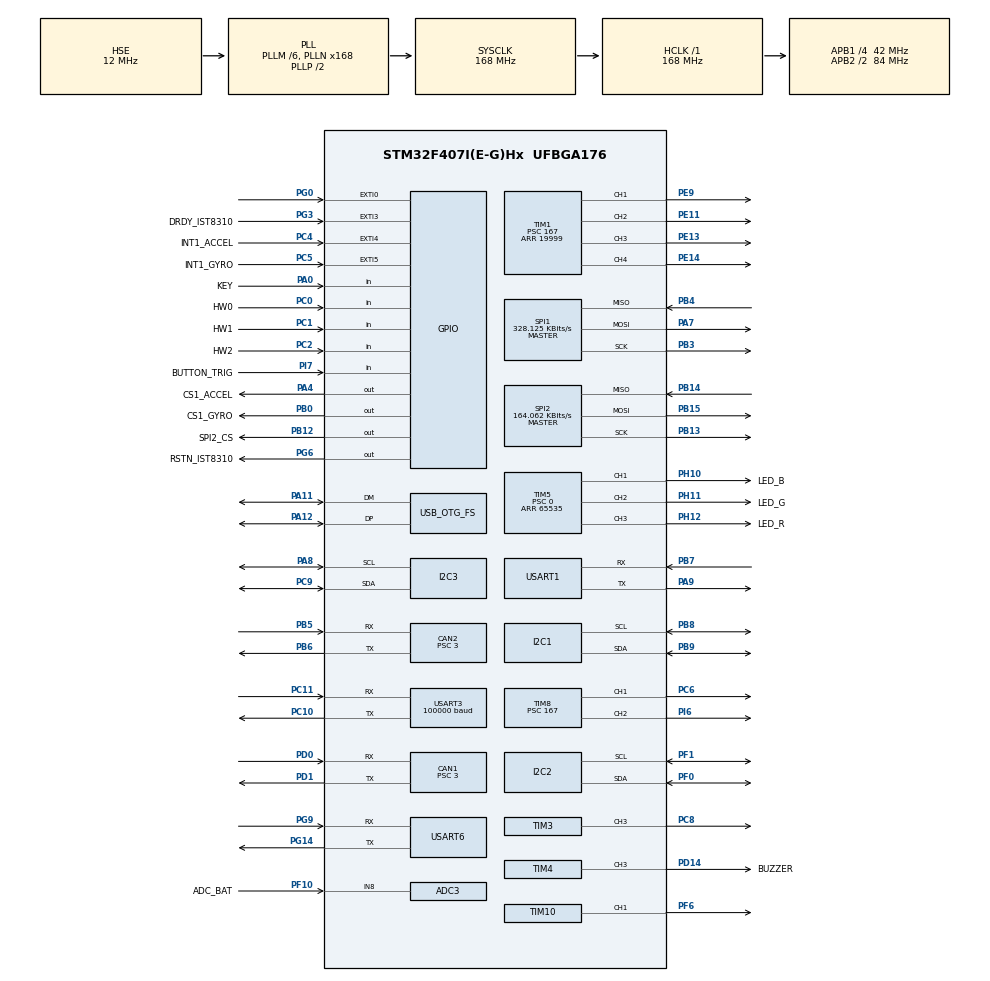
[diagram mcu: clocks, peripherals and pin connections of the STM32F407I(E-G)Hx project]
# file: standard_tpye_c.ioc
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ADC1.Channel-0\#ChannelRegularConversion=ADC_CHANNEL_TEMPSENSOR
ADC1.ClockPrescaler=ADC_CLOCK_SYNC_PCLK_DIV6
ADC1.NbrOfConversionFlag=1
ADC1.Rank-0\#ChannelRegularConversion=1
ADC1.SamplingTime-0\#ChannelRegularConversion=ADC_SAMPLETIME_3CYCLES
ADC1.master=1
ADC3.Channel-0\#ChannelRegularConversion=ADC_CHANNEL_8
ADC3.ClockPrescaler=ADC_CLOCK_SYNC_PCLK_DIV6
ADC3.NbrOfConversionFlag=1
ADC3.Rank-0\#ChannelRegularConversion=1
ADC3.SamplingTime-0\#ChannelRegularConversion=ADC_SAMPLETIME_3CYCLES
CAN1.BS1=CAN_BS1_10TQ
CAN1.BS2=CAN_BS2_3TQ
CAN1.CalculateTimeQuantum=71.42857142857143
CAN1.Prescaler=3
CAN2.BS1=CAN_BS1_10TQ
CAN2.BS2=CAN_BS2_3TQ
CAN2.CalculateTimeQuantum=71.42857142857143
CAN2.Prescaler=3
Dma.I2C2_TX.2.Direction=DMA_MEMORY_TO_PERIPH
Dma.I2C2_TX.2.FIFOMode=DMA_FIFOMODE_DISABLE
Dma.I2C2_TX.2.Instance=DMA1_Stream7
Dma.I2C2_TX.2.MemDataAlignment=DMA_MDATAALIGN_BYTE
Dma.I2C2_TX.2.MemInc=DMA_MINC_ENABLE
Dma.I2C2_TX.2.Mode=DMA_NORMAL
Dma.I2C2_TX.2.PeriphDataAlignment=DMA_PDATAALIGN_BYTE
Dma.I2C2_TX.2.PeriphInc=DMA_PINC_DISABLE
Dma.I2C2_TX.2.Priority=DMA_PRIORITY_HIGH
Dma.Request0=SPI1_RX
Dma.Request1=SPI1_TX
Dma.Request2=I2C2_TX
Dma.Request3=USART3_RX
Dma.Request4=USART6_RX
Dma.Request5=USART6_TX
Dma.Request6=USART1_TX
Dma.Request7=USART1_RX
Dma.SPI1_RX.0.Direction=DMA_PERIPH_TO_MEMORY
Dma.SPI1_RX.0.FIFOMode=DMA_FIFOMODE_DISABLE
Dma.SPI1_RX.0.Instance=DMA2_Stream2
Dma.SPI1_RX.0.MemDataAlignment=DMA_MDATAALIGN_BYTE
Dma.SPI1_RX.0.MemInc=DMA_MINC_ENABLE
Dma.SPI1_RX.0.Mode=DMA_NORMAL
Dma.SPI1_RX.0.PeriphDataAlignment=DMA_PDATAALIGN_BYTE
Dma.SPI1_RX.0.PeriphInc=DMA_PINC_DISABLE
Dma.SPI1_RX.0.Priority=DMA_PRIORITY_VERY_HIGH
Dma.SPI1_TX.1.Direction=DMA_MEMORY_TO_PERIPH
Dma.SPI1_TX.1.FIFOMode=DMA_FIFOMODE_DISABLE
Dma.SPI1_TX.1.Instance=DMA2_Stream3
Dma.SPI1_TX.1.MemDataAlignment=DMA_MDATAALIGN_BYTE
Dma.SPI1_TX.1.MemInc=DMA_MINC_ENABLE
Dma.SPI1_TX.1.Mode=DMA_NORMAL
Dma.SPI1_TX.1.PeriphDataAlignment=DMA_PDATAALIGN_BYTE
Dma.SPI1_TX.1.PeriphInc=DMA_PINC_DISABLE
Dma.SPI1_TX.1.Priority=DMA_PRIORITY_HIGH
Dma.USART1_RX.7.Direction=DMA_PERIPH_TO_MEMORY
Dma.USART1_RX.7.FIFOMode=DMA_FIFOMODE_DISABLE
Dma.USART1_RX.7.Instance=DMA2_Stream5
Dma.USART1_RX.7.MemDataAlignment=DMA_MDATAALIGN_BYTE
Dma.USART1_RX.7.MemInc=DMA_MINC_ENABLE
Dma.USART1_RX.7.Mode=DMA_NORMAL
Dma.USART1_RX.7.PeriphDataAlignment=DMA_PDATAALIGN_BYTE
Dma.USART1_RX.7.PeriphInc=DMA_PINC_DISABLE
Dma.USART1_RX.7.Priority=DMA_PRIORITY_HIGH
Dma.USART1_TX.6.Direction=DMA_MEMORY_TO_PERIPH
Dma.USART1_TX.6.FIFOMode=DMA_FIFOMODE_DISABLE
Dma.USART1_TX.6.Instance=DMA2_Stream7
Dma.USART1_TX.6.MemDataAlignment=DMA_MDATAALIGN_BYTE
Dma.USART1_TX.6.MemInc=DMA_MINC_ENABLE
Dma.USART1_TX.6.Mode=DMA_NORMAL
Dma.USART1_TX.6.PeriphDataAlignment=DMA_PDATAALIGN_BYTE
Dma.USART1_TX.6.PeriphInc=DMA_PINC_DISABLE
Dma.USART1_TX.6.Priority=DMA_PRIORITY_MEDIUM
Dma.USART3_RX.3.Direction=DMA_PERIPH_TO_MEMORY
Dma.USART3_RX.3.FIFOMode=DMA_FIFOMODE_DISABLE
Dma.USART3_RX.3.Instance=DMA1_Stream1
Dma.USART3_RX.3.MemDataAlignment=DMA_MDATAALIGN_BYTE
Dma.USART3_RX.3.MemInc=DMA_MINC_ENABLE
Dma.USART3_RX.3.Mode=DMA_NORMAL
Dma.USART3_RX.3.PeriphDataAlignment=DMA_PDATAALIGN_BYTE
Dma.USART3_RX.3.PeriphInc=DMA_PINC_DISABLE
Dma.USART3_RX.3.Priority=DMA_PRIORITY_HIGH
Dma.USART6_RX.4.Direction=DMA_PERIPH_TO_MEMORY
Dma.USART6_RX.4.FIFOMode=DMA_FIFOMODE_DISABLE
Dma.USART6_RX.4.Instance=DMA2_Stream1
Dma.USART6_RX.4.MemDataAlignment=DMA_MDATAALIGN_BYTE
Dma.USART6_RX.4.MemInc=DMA_MINC_ENABLE
Dma.USART6_RX.4.Mode=DMA_NORMAL
Dma.USART6_RX.4.PeriphDataAlignment=DMA_PDATAALIGN_BYTE
Dma.USART6_RX.4.PeriphInc=DMA_PINC_DISABLE
Dma.USART6_RX.4.Priority=DMA_PRIORITY_HIGH
Dma.USART6_TX.5.Direction=DMA_MEMORY_TO_PERIPH
Dma.USART6_TX.5.FIFOMode=DMA_FIFOMODE_DISABLE
Dma.USART6_TX.5.Instance=DMA2_Stream6
Dma.USART6_TX.5.MemDataAlignment=DMA_MDATAALIGN_BYTE
Dma.USART6_TX.5.MemInc=DMA_MINC_ENABLE
Dma.USART6_TX.5.Mode=DMA_NORMAL
Dma.USART6_TX.5.PeriphDataAlignment=DMA_PDATAALIGN_BYTE
Dma.USART6_TX.5.PeriphInc=DMA_PINC_DISABLE
Dma.USART6_TX.5.Priority=DMA_PRIORITY_MEDIUM
FREERTOS.INCLUDE_eTaskGetState=1
FREERTOS.INCLUDE_pcTaskGetTaskName=1
FREERTOS.INCLUDE_uxTaskGetStackHighWaterMark=1
FREERTOS.INCLUDE_vTaskCleanUpResources=1
FREERTOS.INCLUDE_vTaskDelayUntil=1
FREERTOS.INCLUDE_xEventGroupSetBitFromISR=1
FREERTOS.INCLUDE_xQueueGetMutexHolder=1
FREERTOS.INCLUDE_xSemaphoreGetMutexHolder=1
FREERTOS.INCLUDE_xTaskAbortDelay=1
FREERTOS.INCLUDE_xTaskGetCurrentTaskHandle=1
FREERTOS.INCLUDE_xTaskGetHandle=1
FREERTOS.INCLUDE_xTimerPendFunctionCall=1
FREERTOS.Tasks01=test,24,128,test_task,As weak,NULL,Dynamic,NULL,NULL
FREERTOS.configTOTAL_HEAP_SIZE=24576
I2C1.I2C_Mode=I2C_Fast
I2C2.I2C_Mode=I2C_Fast
I2C3.I2C_Mode=I2C_Fast
Mcu.Family=STM32F4
Mcu.Name=STM32F407I(E-G)Hx
Mcu.Package=UFBGA176
NVIC.CAN1_RX0_IRQn=true\:6\:0\:true\:false\:true\:true\:true\:true
NVIC.CAN2_RX1_IRQn=true\:6\:0\:true\:false\:true\:true\:true\:true
NVIC.DMA1_Stream1_IRQn=true\:5\:0\:true\:false\:false\:true\:false\:false
NVIC.DMA1_Stream7_IRQn=true\:5\:0\:true\:false\:false\:true\:false\:true
NVIC.DMA2_Stream1_IRQn=true\:5\:0\:true\:false\:true\:true\:false\:true
NVIC.DMA2_Stream2_IRQn=true\:5\:0\:true\:false\:false\:true\:false\:true
NVIC.DMA2_Stream3_IRQn=true\:5\:0\:true\:false\:false\:true\:false\:true
NVIC.DMA2_Stream5_IRQn=true\:5\:0\:false\:false\:true\:true\:false\:true
NVIC.DMA2_Stream6_IRQn=true\:5\:0\:true\:false\:true\:true\:false\:true
NVIC.DMA2_Stream7_IRQn=true\:5\:0\:true\:false\:true\:true\:false\:true
NVIC.EXTI0_IRQn=true\:6\:0\:true\:false\:true\:true\:true\:true
NVIC.EXTI3_IRQn=true\:5\:0\:true\:false\:true\:true\:true\:true
NVIC.EXTI4_IRQn=true\:5\:0\:true\:false\:true\:true\:true\:true
NVIC.EXTI9_5_IRQn=true\:5\:0\:true\:false\:true\:true\:true\:true
NVIC.OTG_FS_IRQn=true\:5\:0\:false\:false\:true\:true\:false\:true
NVIC.PriorityGroup=NVIC_PRIORITYGROUP_4
NVIC.USART1_IRQn=true\:5\:0\:false\:false\:true\:true\:true\:true
NVIC.USART3_IRQn=true\:4\:0\:true\:false\:false\:false\:true\:true
NVIC.USART6_IRQn=true\:5\:0\:true\:false\:false\:true\:true\:true
PA0-WKUP.GPIO_Label=KEY
PA0-WKUP.GPIO_PuPd=GPIO_PULLUP
PA0-WKUP.Signal=GPIO_Input
PA11.Mode=Device_Only
PA11.Signal=USB_OTG_FS_DM
PA12.Mode=Device_Only
PA12.Signal=USB_OTG_FS_DP
PA13.Mode=Serial_Wire
PA13.Signal=SYS_JTMS-SWDIO
PA14.Mode=Serial_Wire
PA14.Signal=SYS_JTCK-SWCLK
PA4.GPIO_Label=CS1_ACCEL
PA4.GPIO_PuPd=GPIO_PULLUP
PA4.GPIO_Speed=GPIO_SPEED_FREQ_HIGH
PA4.PinState=GPIO_PIN_SET
PA4.Signal=GPIO_Output
PA7.GPIO_PuPd=GPIO_PULLUP
PA7.Mode=Full_Duplex_Master
PA7.Signal=SPI1_MOSI
PA8.Mode=I2C
PA8.Signal=I2C3_SCL
PA9.Mode=Asynchronous
PA9.Signal=USART1_TX
PB0.GPIO_Label=CS1_GYRO
PB0.GPIO_PuPd=GPIO_PULLUP
PB0.GPIO_Speed=GPIO_SPEED_FREQ_HIGH
PB0.PinState=GPIO_PIN_SET
PB0.Signal=GPIO_Output
PB12.GPIO_Label=SPI2_CS
PB12.GPIO_PuPd=GPIO_PULLUP
PB12.GPIO_Speed=GPIO_SPEED_FREQ_MEDIUM
PB12.PinState=GPIO_PIN_SET
PB12.Signal=GPIO_Output
PB13.GPIO_PuPd=GPIO_PULLUP
PB13.Mode=Full_Duplex_Master
PB13.Signal=SPI2_SCK
PB14.GPIO_PuPd=GPIO_PULLUP
PB14.Mode=Full_Duplex_Master
PB14.Signal=SPI2_MISO
PB15.GPIO_PuPd=GPIO_PULLUP
PB15.Mode=Full_Duplex_Master
PB15.Signal=SPI2_MOSI
PB3.GPIO_PuPd=GPIO_PULLUP
PB3.Mode=Full_Duplex_Master
PB3.Signal=SPI1_SCK
PB4.GPIO_PuPd=GPIO_PULLUP
PB4.Mode=Full_Duplex_Master
PB4.Signal=SPI1_MISO
PB5.Mode=Slave
PB5.Signal=CAN2_RX
PB6.Mode=Slave
PB6.Signal=CAN2_TX
PB7.Mode=Asynchronous
PB7.Signal=USART1_RX
PB8.Mode=I2C
PB8.Signal=I2C1_SCL
PB9.Mode=I2C
PB9.Signal=I2C1_SDA
PC0.GPIO_Label=HW0
PC0.Signal=GPIO_Input
PC1.GPIO_Label=HW1
PC1.Signal=GPIO_Input
PC10.Mode=Asynchronous
PC10.Signal=USART3_TX
PC11.Mode=Asynchronous
PC11.Signal=USART3_RX
PC2.GPIO_Label=HW2
PC2.Signal=GPIO_Input
PC4.GPIO_Label=INT1_ACCEL
PC4.GPIO_ModeDefaultEXTI=GPIO_MODE_IT_FALLING
PC4.GPIO_PuPd=GPIO_PULLUP
PC4.Signal=GPXTI4
PC5.GPIO_Label=INT1_GYRO
PC5.GPIO_ModeDefaultEXTI=GPIO_MODE_IT_FALLING
PC5.GPIO_PuPd=GPIO_PULLUP
PC5.Signal=GPXTI5
PC6.GPIO_PuPd=GPIO_PULLUP
PC6.GPIO_Speed=GPIO_SPEED_FREQ_HIGH
PC6.Signal=S_TIM8_CH1
PC8.GPIO_PuPd=GPIO_PULLUP
PC8.GPIO_Speed=GPIO_SPEED_FREQ_HIGH
PC8.Signal=S_TIM3_CH3
PC9.Mode=I2C
PC9.Signal=I2C3_SDA
PD0.Mode=Master
PD0.Signal=CAN1_RX
PD1.Mode=Master
PD1.Signal=CAN1_TX
PD14.GPIO_Label=BUZZER
PD14.GPIO_PuPd=GPIO_PULLUP
PD14.GPIO_Speed=GPIO_SPEED_FREQ_VERY_HIGH
PD14.Signal=S_TIM4_CH3
PE11.GPIO_PuPd=GPIO_PULLUP
PE11.GPIO_Speed=GPIO_SPEED_FREQ_HIGH
PE11.Signal=S_TIM1_CH2
PE13.GPIO_PuPd=GPIO_PULLUP
PE13.GPIO_Speed=GPIO_SPEED_FREQ_HIGH
PE13.Signal=S_TIM1_CH3
PE14.GPIO_PuPd=GPIO_PULLUP
PE14.GPIO_Speed=GPIO_SPEED_FREQ_HIGH
PE14.Signal=S_TIM1_CH4
PE9.GPIO_PuPd=GPIO_PULLUP
PE9.GPIO_Speed=GPIO_SPEED_FREQ_HIGH
PE9.Signal=S_TIM1_CH1
PF0.Mode=I2C
PF0.Signal=I2C2_SDA
PF1.Mode=I2C
PF1.Signal=I2C2_SCL
PF10.GPIO_Label=ADC_BAT
PF10.Mode=IN8
PF10.Signal=ADC3_IN8
PF6.GPIO_PuPd=GPIO_PULLUP
PF6.GPIO_Speed=GPIO_SPEED_FREQ_HIGH
PF6.Signal=S_TIM10_CH1
PG0.GPIO_ModeDefaultEXTI=GPIO_MODE_IT_FALLING
PG0.GPIO_PuPd=GPIO_PULLUP
PG0.Signal=GPXTI0
PG14.Mode=Asynchronous
PG14.Signal=USART6_TX
PG3.GPIO_Label=DRDY_IST8310
PG3.GPIO_ModeDefaultEXTI=GPIO_MODE_IT_FALLING
PG3.GPIO_PuPd=GPIO_PULLUP
PG3.Signal=GPXTI3
PG6.GPIO_Label=RSTN_IST8310
PG6.GPIO_PuPd=GPIO_PULLUP
PG6.GPIO_Speed=GPIO_SPEED_FREQ_MEDIUM
PG6.PinState=GPIO_PIN_SET
PG6.Signal=GPIO_Output
PG9.Mode=Asynchronous
PG9.Signal=USART6_RX
PH0-OSC_IN.Mode=HSE-External-Oscillator
PH0-OSC_IN.Signal=RCC_OSC_IN
PH1-OSC_OUT.Mode=HSE-External-Oscillator
PH1-OSC_OUT.Signal=RCC_OSC_OUT
PH10.GPIO_Label=LED_B
PH10.GPIO_PuPd=GPIO_PULLUP
PH10.GPIO_Speed=GPIO_SPEED_FREQ_HIGH
PH10.Signal=S_TIM5_CH1
PH11.GPIO_Label=LED_G
PH11.GPIO_PuPd=GPIO_PULLUP
PH11.GPIO_Speed=GPIO_SPEED_FREQ_HIGH
PH11.Signal=S_TIM5_CH2
PH12.GPIO_Label=LED_R
PH12.GPIO_PuPd=GPIO_PULLUP
PH12.GPIO_Speed=GPIO_SPEED_FREQ_HIGH
PH12.Signal=S_TIM5_CH3
PI6.GPIO_PuPd=GPIO_PULLUP
PI6.GPIO_Speed=GPIO_SPEED_FREQ_HIGH
PI6.Signal=S_TIM8_CH2
PI7.GPIO_Label=BUTTON_TRIG
PI7.GPIO_PuPd=GPIO_PULLUP
PI7.Signal=GPIO_Input
ProjectManager.HeapSize=0x2000
ProjectManager.StackSize=0x2000
ProjectManager.TargetToolchain=MDK-ARM V5
RCC.48MHZClocksFreq_Value=48000000
RCC.AHBFreq_Value=168000000
RCC.APB1CLKDivider=RCC_HCLK_DIV4
RCC.APB1Freq_Value=42000000
RCC.APB1TimFreq_Value=84000000
RCC.APB2CLKDivider=RCC_HCLK_DIV2
RCC.APB2Freq_Value=84000000
RCC.APB2TimFreq_Value=168000000
RCC.CortexFreq_Value=168000000
RCC.HCLKFreq_Value=168000000
RCC.HSE_VALUE=12000000
RCC.HSI_VALUE=16000000
RCC.LSE_VALUE=32768
RCC.PLLM=6
RCC.PLLN=168
RCC.PLLQ=7
RCC.RCC_RTC_Clock_SourceVirtual=RCC_RTCCLKSOURCE_HSE_DIV30
RCC.RCC_RTC_Clock_Source_FROM_HSE=RCC_RTCCLKSOURCE_HSE_DIV30
RCC.SYSCLKFreq_VALUE=168000000
RCC.SYSCLKSource=RCC_SYSCLKSOURCE_PLLCLK
RCC.VCOOutputFreq_Value=336000000
RTC.AsynchPrediv=124
RTC.SynchPrediv=3199
SH.S_TIM10_CH1.0=TIM10_CH1,PWM Generation1 CH1
SH.S_TIM1_CH1.0=TIM1_CH1,PWM Generation1 CH1
SH.S_TIM1_CH2.0=TIM1_CH2,PWM Generation2 CH2
SH.S_TIM1_CH3.0=TIM1_CH3,PWM Generation3 CH3
SH.S_TIM1_CH4.0=TIM1_CH4,PWM Generation4 CH4
SH.S_TIM3_CH3.0=TIM3_CH3,PWM Generation3 CH3
SH.S_TIM4_CH3.0=TIM4_CH3,PWM Generation3 CH3
SH.S_TIM5_CH1.0=TIM5_CH1,PWM Generation1 CH1
SH.S_TIM5_CH2.0=TIM5_CH2,PWM Generation2 CH2
SH.S_TIM5_CH3.0=TIM5_CH3,PWM Generation3 CH3
SH.S_TIM8_CH1.0=TIM8_CH1,PWM Generation1 CH1
SH.S_TIM8_CH2.0=TIM8_CH2,PWM Generation2 CH2
SPI1.BaudRatePrescaler=SPI_BAUDRATEPRESCALER_256
SPI1.CLKPhase=SPI_PHASE_2EDGE
SPI1.CLKPolarity=SPI_POLARITY_HIGH
SPI1.CalculateBaudRate=328.125 KBits/s
SPI1.Direction=SPI_DIRECTION_2LINES
SPI1.Mode=SPI_MODE_MASTER
SPI1.VirtualType=VM_MASTER
SPI2.BaudRatePrescaler=SPI_BAUDRATEPRESCALER_256
SPI2.CLKPhase=SPI_PHASE_2EDGE
SPI2.CLKPolarity=SPI_POLARITY_HIGH
SPI2.CalculateBaudRate=164.062 KBits/s
SPI2.Direction=SPI_DIRECTION_2LINES
SPI2.Mode=SPI_MODE_MASTER
SPI2.VirtualType=VM_MASTER
TIM1.Channel-PWM\ Generation1\ CH1=TIM_CHANNEL_1
TIM1.Channel-PWM\ Generation2\ CH2=TIM_CHANNEL_2
TIM1.Channel-PWM\ Generation3\ CH3=TIM_CHANNEL_3
TIM1.Channel-PWM\ Generation4\ CH4=TIM_CHANNEL_4
TIM1.Period=19999
TIM1.Prescaler=167
TIM1.Pulse-PWM\ Generation1\ CH1=1000
TIM1.Pulse-PWM\ Generation2\ CH2=1000
TIM1.Pulse-PWM\ Generation3\ CH3=1000
TIM1.Pulse-PWM\ Generation4\ CH4=1000
TIM10.Channel=TIM_CHANNEL_1
TIM10.Period=4999
TIM3.Channel-PWM\ Generation3\ CH3=TIM_CHANNEL_3
TIM3.Period=8399
TIM4.Channel-PWM\ Generation3\ CH3=TIM_CHANNEL_3
TIM4.Period=65535
TIM4.Prescaler=167
TIM5.Channel-PWM\ Generation1\ CH1=TIM_CHANNEL_1
TIM5.Channel-PWM\ Generation2\ CH2=TIM_CHANNEL_2
TIM5.Channel-PWM\ Generation3\ CH3=TIM_CHANNEL_3
TIM5.Period=65535
TIM5.Prescaler=0
TIM8.Channel-PWM\ Generation1\ CH1=TIM_CHANNEL_1
TIM8.Channel-PWM\ Generation2\ CH2=TIM_CHANNEL_2
TIM8.Period=19999
TIM8.Prescaler=167
TIM8.Pulse-PWM\ Generation1\ CH1=1000
TIM8.Pulse-PWM\ Generation2\ CH2=1000
USART1.VirtualMode=VM_ASYNC
USART3.BaudRate=100000
USART3.Parity=PARITY_EVEN
USART3.VirtualMode=VM_ASYNC
USART6.VirtualMode=VM_ASYNC
USB_DEVICE.CLASS_NAME_FS=CDC
USB_DEVICE.VirtualMode-CDC_FS=Cdc
USB_DEVICE.VirtualModeFS=Cdc_FS
USB_OTG_FS.VirtualMode=Device_Only
VP_ADC1_TempSens_Input.Mode=IN-TempSens
VP_ADC1_Vref_Input.Mode=IN-Vrefint
VP_CRC_VS_CRC.Mode=CRC_Activate
VP_FREERTOS_VS_CMSIS_V1.Mode=CMSIS_V1
VP_RNG_VS_RNG.Mode=RNG_Activate
VP_RTC_VS_RTC_Activate.Mode=RTC_Enabled
VP_TIM10_VS_ClockSourceINT.Mode=Enable_Timer
VP_TIM1_VS_ClockSourceINT.Mode=Internal
VP_TIM3_VS_ClockSourceINT.Mode=Internal
VP_TIM4_VS_ClockSourceINT.Mode=Internal
VP_TIM5_VS_ClockSourceINT.Mode=Internal
VP_TIM8_VS_ClockSourceINT.Mode=Internal
VP_USB_DEVICE_VS_USB_DEVICE_CDC_FS.Mode=CDC_FS
board=custom

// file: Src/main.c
/* USER CODE BEGIN Header */
/**
  ******************************************************************************
  * @file           : main.c
  * @brief          : Main program body
  ******************************************************************************
  * @attention
  *
  * <h2><center>&copy; Copyright (c) 2019 STMicroelectronics.
  * All rights reserved.</center></h2>
  *
  * This software component is licensed by ST under Ultimate Liberty license
  * SLA0044, the "License"; You may not use this file except in compliance with
  * the License. You may obtain a copy of the License at:
  *                             www.st.com/SLA0044
  *
  ******************************************************************************
  */
/* USER CODE END Header */

#include "main.h"
#include "cmsis_os.h"
#include "adc.h"
#include "can.h"
#include "crc.h"
#include "dma.h"
#include "i2c.h"
#include "rng.h"
#include "rtc.h"
#include "spi.h"
#include "tim.h"
#include "usart.h"
#include "usb_device.h"
#include "gpio.h"

/* USER CODE BEGIN Includes */
#include "bsp_can.h"
#include "bsp_delay.h"
#include "bsp_usart.h"
#include "remote_control.h"

#include "calibrate_task.h"
#include "chassis_task.h"
#include "detect_task.h"
#include "gimbal_task.h"
#include "INS_task.h"
#include "led_flow_task.h"
#include "oled_task.h"
#include "referee_usart_task.h"
#include "usb_task.h"
#include "voltage_task.h"
#include "SuperCap_comm.h"
/* USER CODE END Includes */

void SystemClock_Config(void);
void MX_FREERTOS_Init(void);

int main(void)
{

  /* MCU Configuration--------------------------------------------------------*/

  /* Reset of all peripherals, Initializes the Flash interface and the Systick. */
  HAL_Init();

  /* Configure the system clock */
  SystemClock_Config();

  /* Initialize all configured peripherals */
  MX_GPIO_Init();
  MX_DMA_Init();
  MX_ADC1_Init();
  MX_ADC3_Init();
  MX_CAN1_Init();
  MX_CAN2_Init();
  MX_I2C1_Init();
  MX_SPI1_Init();
  MX_TIM4_Init();
  MX_TIM5_Init();
  MX_USART3_UART_Init();
  MX_TIM8_Init();
  MX_CRC_Init();
  MX_RNG_Init();
  MX_I2C2_Init();
  MX_I2C3_Init();
  MX_RTC_Init();
  MX_SPI2_Init();
  MX_TIM1_Init();
  MX_TIM3_Init();
  MX_TIM10_Init();
  MX_USART1_UART_Init();
  MX_USART6_UART_Init();
  /* USER CODE BEGIN 2 */
    can_filter_init();
    delay_init();
    cali_param_init();
    remote_control_init();
    usart1_tx_dma_init();

	//SZL 3-27-2022
	superCap_comm_bothway_init();
  /* USER CODE END 2 */

  /* Call init function for freertos objects (in freertos.c) */
  MX_FREERTOS_Init();

  /* Start scheduler */
  osKernelStart();

  /* We should never get here as control is now taken by the scheduler */

  /* Infinite loop */
  while (1)
  {

  }
}

void SystemClock_Config(void)
{
  RCC_OscInitTypeDef RCC_OscInitStruct = {0};
  RCC_ClkInitTypeDef RCC_ClkInitStruct = {0};
  RCC_PeriphCLKInitTypeDef PeriphClkInitStruct = {0};

  /** Configure the main internal regulator output voltage
  */
  __HAL_RCC_PWR_CLK_ENABLE();
  __HAL_PWR_VOLTAGESCALING_CONFIG(PWR_REGULATOR_VOLTAGE_SCALE1);
  /** Initializes the CPU, AHB and APB busses clocks
  */
  RCC_OscInitStruct.OscillatorType = RCC_OSCILLATORTYPE_HSE;
  RCC_OscInitStruct.HSEState = RCC_HSE_ON;
  RCC_OscInitStruct.PLL.PLLState = RCC_PLL_ON;
  RCC_OscInitStruct.PLL.PLLSource = RCC_PLLSOURCE_HSE;
  RCC_OscInitStruct.PLL.PLLM = 6;
  RCC_OscInitStruct.PLL.PLLN = 168;
  RCC_OscInitStruct.PLL.PLLP = RCC_PLLP_DIV2;
  RCC_OscInitStruct.PLL.PLLQ = 7;
  if (HAL_RCC_OscConfig(&RCC_OscInitStruct) != HAL_OK)
  {
    Error_Handler();
  }
  /** Initializes the CPU, AHB and APB busses clocks
  */
  RCC_ClkInitStruct.ClockType = RCC_CLOCKTYPE_HCLK|RCC_CLOCKTYPE_SYSCLK
                              |RCC_CLOCKTYPE_PCLK1|RCC_CLOCKTYPE_PCLK2;
  RCC_ClkInitStruct.SYSCLKSource = RCC_SYSCLKSOURCE_PLLCLK;
  RCC_ClkInitStruct.AHBCLKDivider = RCC_SYSCLK_DIV1;
  RCC_ClkInitStruct.APB1CLKDivider = RCC_HCLK_DIV4;
  RCC_ClkInitStruct.APB2CLKDivider = RCC_HCLK_DIV2;

  if (HAL_RCC_ClockConfig(&RCC_ClkInitStruct, FLASH_LATENCY_5) != HAL_OK)
  {
    Error_Handler();
  }
  PeriphClkInitStruct.PeriphClockSelection = RCC_PERIPHCLK_RTC;
  PeriphClkInitStruct.RTCClockSelection = RCC_RTCCLKSOURCE_HSE_DIV30;
  if (HAL_RCCEx_PeriphCLKConfig(&PeriphClkInitStruct) != HAL_OK)
  {
    Error_Handler();
  }
}

void Error_Handler(void)
{
}

/************************ (C) COPYRIGHT STMicroelectronics *****END OF FILE****/
